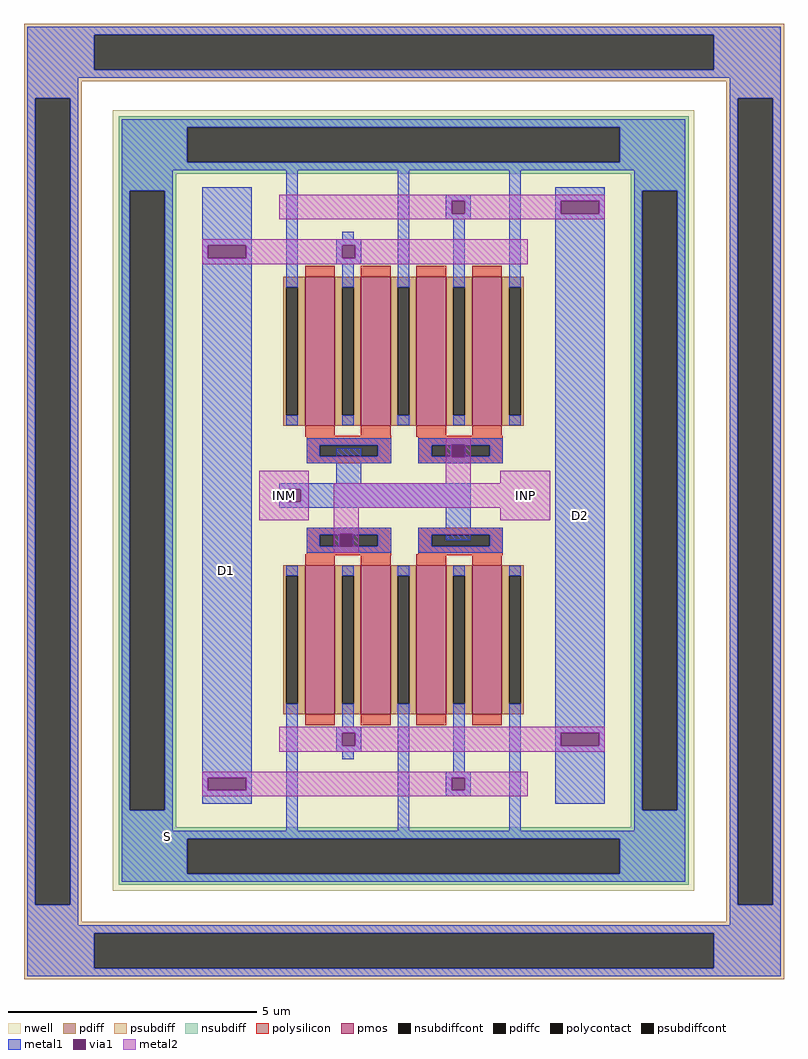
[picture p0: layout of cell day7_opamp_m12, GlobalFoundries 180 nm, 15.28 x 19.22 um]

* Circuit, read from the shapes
.subckt day7_opamp_m12 S INM INP D2 D1
XM1 D2 INP S S pfet_03v3 w=3u l=0.6u m=4
XM2 D1 INM S S pfet_03v3 w=3u l=0.6u m=4
.ends

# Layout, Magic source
magic
tech gf180mcuD
magscale 1 10
<< nwell >>
rect 9140 -500 11480 2640
<< psubdiff >>
rect 8784 2942 11840 2988
rect 8784 2802 9067 2942
rect 11557 2802 11840 2942
rect 8784 2756 11840 2802
rect 8784 2687 9016 2756
rect 8784 -555 8830 2687
rect 8970 -555 9016 2687
rect 11608 2687 11840 2756
rect 8784 -624 9016 -555
rect 11608 -555 11654 2687
rect 11794 -555 11840 2687
rect 11608 -624 11840 -555
rect 8784 -670 11840 -624
rect 8784 -810 9067 -670
rect 11557 -810 11840 -670
rect 8784 -856 11840 -810
<< nsubdiff >>
rect 9164 2570 11456 2616
rect 9164 2430 9441 2570
rect 11179 2430 11456 2570
rect 9164 2384 11456 2430
rect 9164 2315 9396 2384
rect 9164 -175 9210 2315
rect 9350 -175 9396 2315
rect 9164 -244 9396 -175
rect 11224 2315 11456 2384
rect 11224 -175 11270 2315
rect 11410 -175 11456 2315
rect 11224 -244 11456 -175
rect 9164 -290 11456 -244
rect 9164 -430 9441 -290
rect 11179 -430 11456 -290
rect 9164 -476 11456 -430
<< psubdiffcont >>
rect 9067 2802 11557 2942
rect 8830 -555 8970 2687
rect 11654 -555 11794 2687
rect 9067 -810 11557 -670
<< nsubdiffcont >>
rect 9441 2430 11179 2570
rect 9210 -175 9350 2315
rect 11270 -175 11410 2315
rect 9441 -430 11179 -290
<< metal1 >>
rect 8797 2942 11827 2975
rect 8797 2802 9067 2942
rect 11557 2802 11827 2942
rect 8797 2769 11827 2802
rect 8797 2687 9003 2769
rect 8797 -555 8830 2687
rect 8970 -555 9003 2687
rect 11621 2687 11827 2769
rect 9177 2570 11443 2603
rect 9177 2430 9441 2570
rect 11179 2430 11443 2570
rect 9177 2397 11443 2430
rect 9177 2315 9383 2397
rect 9177 -175 9210 2315
rect 9350 -175 9383 2315
rect 9500 2096 9700 2330
rect 9839 2310 9885 2397
rect 10287 2310 10333 2397
rect 10735 2310 10781 2397
rect 9500 2044 9522 2096
rect 9678 2044 9700 2096
rect 9500 -44 9700 2044
rect 10920 2276 11120 2330
rect 10920 2224 10942 2276
rect 11098 2224 11120 2276
rect 10500 1296 10560 1300
rect 10040 1140 10140 1280
rect 10500 1244 10504 1296
rect 10556 1244 10560 1296
rect 10500 1240 10560 1244
rect 9810 1116 10580 1140
rect 9810 1064 9844 1116
rect 9896 1064 10580 1116
rect 9810 1040 10580 1064
rect 10050 936 10110 940
rect 10050 884 10054 936
rect 10106 884 10110 936
rect 10480 910 10580 1040
rect 10050 880 10110 884
rect 9500 -96 9522 -44
rect 9678 -96 9700 -44
rect 9500 -150 9700 -96
rect 10920 136 11120 2224
rect 10920 84 10942 136
rect 11098 84 11120 136
rect 9177 -257 9383 -175
rect 9839 -257 9885 -140
rect 10287 -257 10333 -140
rect 10735 -257 10781 -140
rect 10920 -150 11120 84
rect 11237 2315 11443 2397
rect 11237 -175 11270 2315
rect 11410 -175 11443 2315
rect 11237 -257 11443 -175
rect 9177 -290 11443 -257
rect 9177 -430 9441 -290
rect 11179 -430 11443 -290
rect 9177 -463 11443 -430
rect 8797 -637 9003 -555
rect 11621 -555 11654 2687
rect 11794 -555 11827 2687
rect 11621 -637 11827 -555
rect 8797 -670 11827 -637
rect 8797 -810 9067 -670
rect 11557 -810 11827 -670
rect 8797 -843 11827 -810
<< via1 >>
rect 9522 2044 9678 2096
rect 10942 2224 11098 2276
rect 10504 1244 10556 1296
rect 9844 1064 9896 1116
rect 10054 884 10106 936
rect 9522 -96 9678 -44
rect 10942 84 11098 136
<< metal2 >>
rect 10680 2276 11120 2300
rect 10680 2224 10942 2276
rect 11098 2224 11120 2276
rect 10680 2200 11120 2224
rect 9500 2096 9940 2120
rect 9500 2044 9522 2096
rect 9678 2044 9940 2096
rect 9500 2020 9940 2044
rect 10480 1296 10580 1320
rect 10480 1244 10504 1296
rect 10556 1244 10580 1296
rect 9730 1116 9930 1190
rect 10480 1140 10580 1244
rect 10700 1140 10900 1190
rect 9730 1064 9844 1116
rect 9896 1064 9930 1116
rect 9730 990 9930 1064
rect 10030 1040 10900 1140
rect 10030 936 10130 1040
rect 10700 990 10900 1040
rect 10030 884 10054 936
rect 10106 884 10130 936
rect 10030 860 10130 884
rect 10680 136 11120 160
rect 10680 84 10942 136
rect 11098 84 11120 136
rect 10680 60 11120 84
rect 9500 -44 9940 -20
rect 9500 -96 9522 -44
rect 9678 -96 9940 -44
rect 9500 -120 9940 -96
use day7_opamp_m12half  day7_opamp_m12half_0
transform 1 0 10550 0 1 1370
box -810 -1520 350 -380
use day7_opamp_m12half  day7_opamp_m12half_1
transform 1 0 10550 0 -1 810
box -810 -1520 350 -380
<< labels >>
flabel metal1 s 9340 -300 9380 -260 0 FreeSans 2000 0 0 0 S
port 1 nsew
flabel metal2 s 9730 990 9930 1190 0 FreeSans 2000 0 0 0 INM
port 2 nsew
flabel metal2 s 10700 990 10900 1190 0 FreeSans 2000 0 0 0 INP
port 3 nsew
flabel metal1 s 10920 910 11120 1110 0 FreeSans 2000 0 0 0 D2
port 4 nsew
flabel metal1 s 9500 690 9700 890 0 FreeSans 2000 0 0 0 D1
port 5 nsew
<< end >>

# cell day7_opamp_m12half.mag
magic
tech gf180mcuD
magscale 1 10
<< nwell >>
rect -810 -1520 350 -380
<< pmos >>
rect -636 -1160 -516 -560
rect -412 -1160 -292 -560
rect -188 -1160 -68 -560
rect 36 -1160 156 -560
<< pdiff >>
rect -724 -602 -636 -560
rect -724 -1118 -711 -602
rect -665 -1118 -636 -602
rect -724 -1160 -636 -1118
rect -516 -602 -412 -560
rect -516 -1118 -487 -602
rect -441 -1118 -412 -602
rect -516 -1160 -412 -1118
rect -292 -602 -188 -560
rect -292 -1118 -263 -602
rect -217 -1118 -188 -602
rect -292 -1160 -188 -1118
rect -68 -602 36 -560
rect -68 -1118 -39 -602
rect 7 -1118 36 -602
rect -68 -1160 36 -1118
rect 156 -602 244 -560
rect 156 -1118 185 -602
rect 231 -1118 244 -602
rect 156 -1160 244 -1118
<< pdiffc >>
rect -711 -1118 -665 -602
rect -487 -1118 -441 -602
rect -263 -1118 -217 -602
rect -39 -1118 7 -602
rect 185 -1118 231 -602
<< polysilicon >>
rect -630 -437 -290 -410
rect -630 -483 -577 -437
rect -343 -483 -290 -437
rect -630 -516 -290 -483
rect -180 -437 160 -410
rect -180 -483 -127 -437
rect 107 -483 160 -437
rect -180 -516 160 -483
rect -636 -520 -290 -516
rect -188 -520 160 -516
rect -636 -560 -516 -520
rect -412 -560 -292 -520
rect -188 -560 -68 -520
rect 36 -560 156 -520
rect -636 -1204 -516 -1160
rect -412 -1204 -292 -1160
rect -188 -1204 -68 -1160
rect 36 -1204 156 -1160
<< polycontact >>
rect -577 -483 -343 -437
rect -127 -483 107 -437
<< metal1 >>
rect -630 -437 -290 -410
rect -630 -483 -577 -437
rect -343 -483 -290 -437
rect -630 -510 -290 -483
rect -180 -437 160 -410
rect -180 -483 -127 -437
rect 107 -483 160 -437
rect -180 -510 160 -483
rect -711 -602 -665 -562
rect -711 -1520 -665 -1118
rect -487 -602 -441 -562
rect -487 -1210 -441 -1118
rect -263 -602 -217 -562
rect -510 -1234 -410 -1210
rect -510 -1286 -486 -1234
rect -434 -1286 -410 -1234
rect -510 -1310 -410 -1286
rect -487 -1340 -441 -1310
rect -263 -1520 -217 -1118
rect -39 -602 7 -562
rect -39 -1390 7 -1118
rect 185 -602 231 -562
rect -70 -1414 30 -1390
rect -70 -1466 -46 -1414
rect 6 -1466 30 -1414
rect -70 -1490 30 -1466
rect 185 -1520 231 -1118
<< via1 >>
rect -486 -1286 -434 -1234
rect -46 -1466 6 -1414
<< metal2 >>
rect -740 -1234 260 -1210
rect -740 -1286 -486 -1234
rect -434 -1286 260 -1234
rect -740 -1310 260 -1286
rect -740 -1414 260 -1390
rect -740 -1466 -46 -1414
rect 6 -1466 260 -1414
rect -740 -1490 260 -1466
<< end >>
